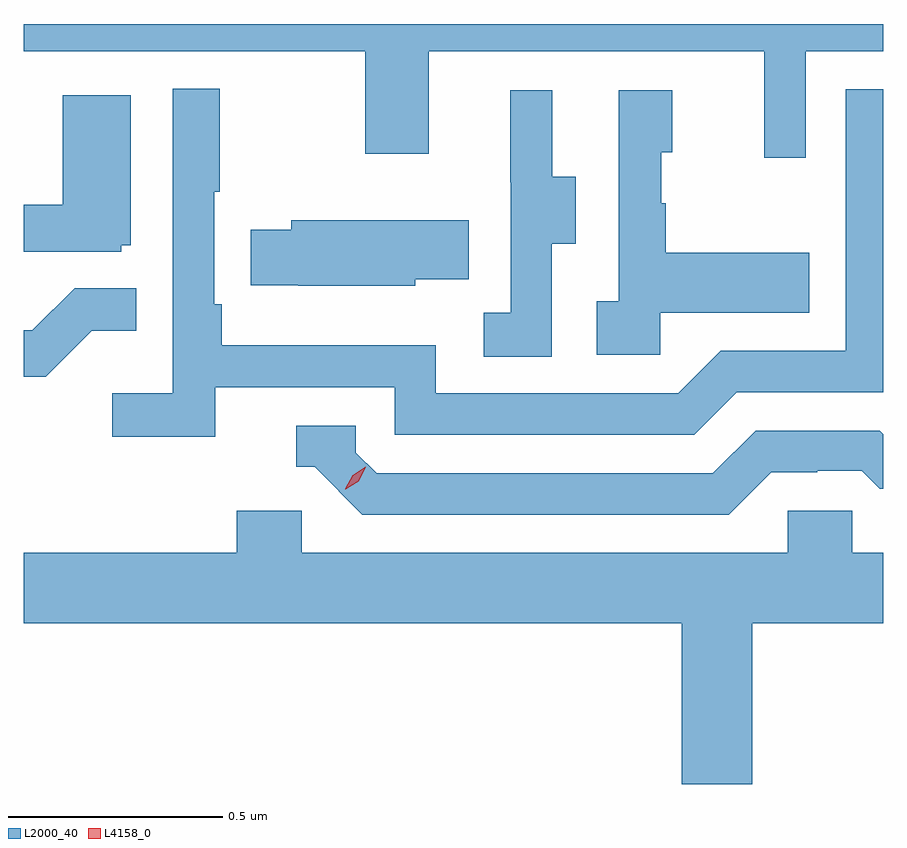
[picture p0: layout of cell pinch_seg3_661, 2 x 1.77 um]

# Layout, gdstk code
import gdstk
lib = gdstk.Library(unit=1e-6, precision=1e-09)
def P(c, l, *ps):  # polygons
    for p in ps: c.add(gdstk.Polygon(p, *l))
L2000_40 = (2000, 40)
L4158_0 = (4158, 0)

pinch_seg3_661 = lib.new_cell('pinch_seg3_661')
P(pinch_seg3_661, L2000_40, [(1040.421,675.608),(1040.601,675.608),(1040.601,675.671),(1038.601,675.671),(1038.601,675.608),(1039.396,675.608),(1039.396,675.369),(1039.543,675.369),(1039.543,675.608),(1040.324,675.608),(1040.324,675.36),(1040.421,675.36)],
  [(1039.046,674.826),(1039.464,674.826),(1039.464,674.715),(1040.161,674.715),(1040.26,674.814),(1040.601,674.814),(1040.601,675.519),(1040.514,675.519),(1040.514,674.91),(1040.223,674.91),(1040.124,674.811),(1039.56,674.811),(1039.56,674.923),(1039.061,674.923),(1039.061,675.019),(1039.044,675.019),(1039.044,675.28),(1039.057,675.28),(1039.057,675.52),(1038.948,675.52),(1038.948,674.812),(1038.807,674.812),(1038.807,674.71),(1039.046,674.71)],
  [(1039.83,675.16),(1039.885,675.16),(1039.885,675.315),(1039.831,675.315),(1039.831,675.517),(1039.733,675.517),(1039.733,675.303),(1039.734,675.303),(1039.734,674.999),(1039.671,674.999),(1039.671,674.896),(1039.83,674.896)],
  [(1040.082,674.999),(1040.429,674.999),(1040.429,675.139),(1040.095,675.139),(1040.095,675.254),(1040.085,675.254),(1040.085,675.372),(1040.11,675.372),(1040.11,675.517),(1039.986,675.517),(1039.986,675.026),(1039.935,675.026),(1039.935,674.901),(1040.082,674.901)],
  [(1038.828,675.156),(1038.85,675.156),(1038.85,675.505),(1038.692,675.505),(1038.692,675.25),(1038.601,675.25),(1038.601,675.141),(1038.828,675.141)],
  [(1039.512,675.077),(1039.637,675.077),(1039.637,675.214),(1039.223,675.214),(1039.223,675.192),(1039.129,675.192),(1039.129,675.063),(1039.24,675.063),(1039.24,675.062),(1039.512,675.062)],
  [(1038.759,674.957),(1038.863,674.957),(1038.863,675.056),(1038.719,675.056),(1038.621,674.958),(1038.601,674.958),(1038.601,674.85),(1038.652,674.85)],
  [(1040.341,674.628),(1040.448,674.628),(1040.448,674.631),(1040.551,674.631),(1040.593,674.589),(1040.601,674.589),(1040.601,674.716),(1040.593,674.724),(1040.304,674.724),(1040.205,674.625),(1039.422,674.625),(1039.374,674.673),(1039.374,674.736),(1039.235,674.736),(1039.235,674.64),(1039.278,674.64),(1039.389,674.529),(1040.242,674.529)],
  [(1040.296,674.276),(1040.601,674.276),(1040.601,674.44),(1040.529,674.44),(1040.529,674.538),(1040.379,674.538),(1040.379,674.44),(1039.248,674.44),(1039.248,674.538),(1039.097,674.538),(1039.097,674.44),(1038.601,674.44),(1038.601,674.276),(1040.132,674.276),(1040.132,673.902),(1040.296,673.902)])
P(pinch_seg3_661, L4158_0, [(1039.349,674.588),(1039.349,674.589),(1039.366,674.621),(1039.397,674.64),(1039.397,674.64),(1039.397,674.64),(1039.38,674.607),(1039.35,674.588)])

lib.write_gds('pinch_seg3_661.gds')
